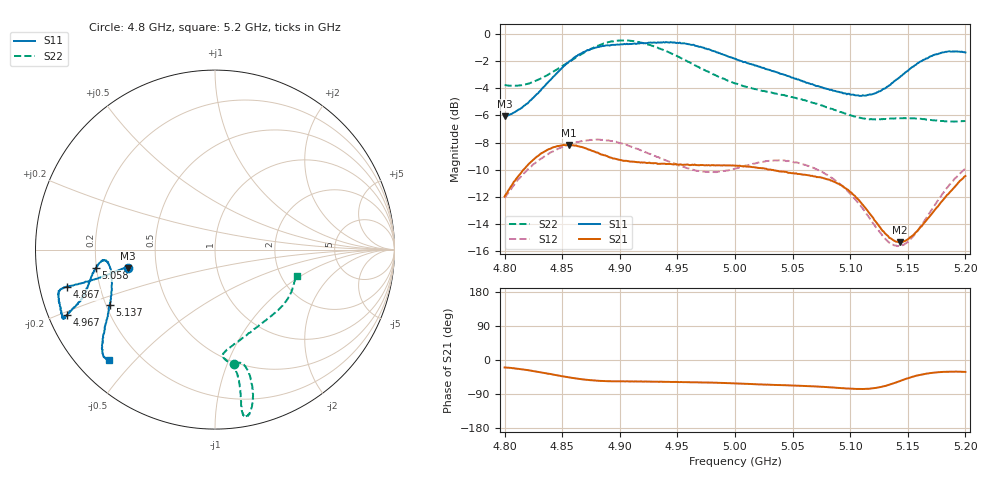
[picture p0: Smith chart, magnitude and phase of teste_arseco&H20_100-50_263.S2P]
! Network Analyzer HP8722D
! Hewlett-Packard
! Data name: Linha & Wilkinson
! Saver's name: Rodrigo Anjos
! Comments: Teste da utilização de aquisição
! continua pelo VNA HP8722D
! Time and date: 6/5/2025 14:45
!  Frequency  S11  S21  S12  S22
# HZ  S  MA R 50
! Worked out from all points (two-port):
!   401 points, 4.8 GHz to 5.2 GHz, reference 50 ohm
!   highest |S21| = -8.17 dB at 4.856 GHz (marker M1); lowest = -15.3 dB at 5.143 GHz (marker M2)
!   |S21| within 3 dB of the highest: 4.806 GHz to 5.093 GHz (286.8 MHz wide, 5.79 % of centre); 5.191674 GHz to end of sweep
!   lowest |S11| = -6.1 dB at 4.8 GHz (marker M3), VSWR 2.97, Z = 17 - j4.58 ohm
!   |S11| at or under -10 dB: nowhere
!   |S22| runs from -6.5 to -0.5 dB; largest |S21 - S12| = 0.62
!   S11 on the Smith chart (normalised r, x): 4.8 GHz: 0.34, -0.09; 4.867 GHz: 0.08, -0.12; 4.967 GHz: 0.05, -0.21; 5.058 GHz: 0.20, -0.07; 5.137 GHz: 0.22, -0.23; 5.2 GHz: 0.09, -0.42
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4.8e9  0.4966 -168.2  0.2521 -19.7  0.2488 -140.8  0.6474 -80.4
4.828e9  0.6002 -167.1  0.3532 -30.7  0.3382 -144.8  0.6735 -75.4
4.856e9  0.7903 -165.8  0.3903 -45.8  0.3915 -150.1  0.789 -74.8
4.867e9  0.8476 -165.9  0.3835 -50.9  0.4025 -152.0  0.8434 -75.5
4.883e9  0.8978 -165.0  0.361 -55.2  0.4078 -154.7  0.9101 -77.2
4.898e9  0.912 -163.0  0.345 -56.3  0.3983 -156.4  0.9431 -78.8
4.915e9  0.9183 -159.4  0.3371 -56.7  0.3779 -157.1  0.9334 -80.4
4.934e9  0.9275 -156.5  0.3325 -57.5  0.351 -155.6  0.8828 -80.5
4.967e9  0.9 -156.3  0.3291 -58.8  0.3132 -148.0  0.7581 -79.7
5e9  0.8092 -159.0  0.3275 -61.8  0.3194 -137.2  0.6567 -81.3
5.034e9  0.7269 -165.3  0.3145 -65.8  0.3423 -134.3  0.6035 -85.6
5.058e9  0.6713 -171.3  0.3039 -68.0  0.3316 -136.1  0.5737 -84.6
5.067e9  0.6528 -173.0  0.3005 -69.1  0.3224 -136.8  0.5584 -82.6
5.084e9  0.6217 -174.5  0.2885 -72.5  0.2952 -138.4  0.5293 -76.3
5.104e9  0.5942 -171.1  0.2536 -76.2  0.2472 -138.5  0.4964 -64.6
5.118e9  0.5977 -164.4  0.2154 -75.2  0.2067 -134.5  0.4854 -54.4
5.134e9  0.6461 -154.3  0.1776 -65.2  0.1705 -120.7  0.4873 -43.3
5.137e9  0.6607 -152.4  0.1745 -62.4  0.1677 -116.8  0.4877 -41.6
5.143e9  0.6922 -149.3  0.1714 -55.8  0.1657 -109.0  0.4888 -38.0
5.154e9  0.7557 -144.5  0.1808 -44.3  0.1788 -95.0  0.4888 -32.4
5.172e9  0.8332 -139.0  0.2212 -33.6  0.2301 -81.2  0.4804 -24.5
5.2e9  0.8528 -133.7  0.3 -31.4  0.3191 -76.9  0.4779 -17.6
